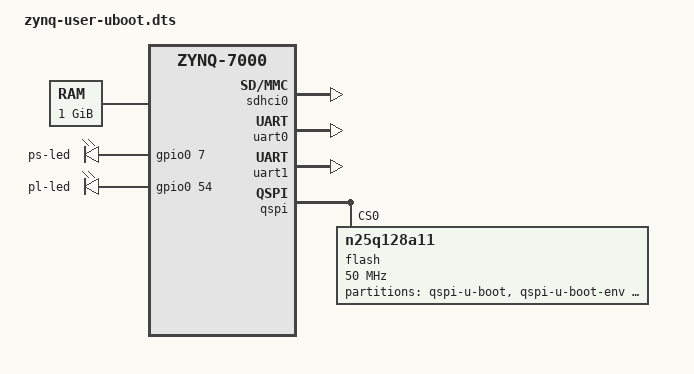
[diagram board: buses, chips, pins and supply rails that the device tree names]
/*
 * Author: michaelc
 * Version:  
 * Today is: Sun Sep  5 01:47:35 2021
 */

/dts-v1/;
#include "user/zynq-7000.dtsi"
#include "user/pcw.dtsi"
/ {
	chosen {
		// onsole=ttyPS0,115200 earlyprintk 指定打印输出端口
		// root=/dev/mmcblk0p2 rootwait rw rootfstype=ext4  kernel 的文件系统加载位置
		bootargs = "console=ttyPS0,115200 earlyprintk root=/dev/mmcblk0p2 rootwait rw rootfstype=ext4";
		stdout-path = "serial0:115200n8";
	};
	aliases {
		// 网口位置
		ethernet0 = &gem0;
		// 串口与UART 的映射关系，这个跟FPGA 硬件设计相关
		serial0 = &uart0;
		serial1 = &uart1;
		spi0 = &qspi;
		usb0 = &usb0;
		// mmc0 = &sdhci0;
	};
	memory {
		device_type = "memory";
		// DDR 内存寻址空间大小，7007系列的是512MB(0x20000000) ,7020系列是1GB(0x40000000)
		reg = <0x0 0x40000000>;
	};

	leds {
		// 使用gpio-leds驱动 
		compatible = "gpio-leds";
		// “led-ds23”: 仅名字，按需更改
		led-ps {
			label = "ps-led";
			// gpio0组， 7：MIO 的第7个IO:  
			gpios = <&gpio0 7 0>;
			linux,default-trigger = "heartbeat";
		};
		led-pl{
			label = "pl-led";
			// gpio0组， 54：EMIO 的第1个IO:  
			gpios = <&gpio0 54 0>;
			linux,default-trigger = "heartbeat";
		};
	};
};

&gem0 { 
		// 网卡的MAC 地址
		local-mac-address = [00 0a 35 00 1e 53]; 
};

&sdhci0 {
	u-boot,dm-pre-reloc;
	status = "okay";
};
&uart0 {
	status = "okay";
};
&uart1 {
	status = "okay";
};


&qspi {
    status = "okay";
    is-dual = <0>;
    num-cs = <1>;
        flash@0 {
			// 128Mb qspi 
                compatible = "n25q128a11";
                reg = <0x0>;
                spi-tx-bus-width = <1>;
                spi-rx-bus-width = <4>;
                spi-max-frequency = <50000000>;
                #address-cells = <1>;
                #size-cells = <1>;
				// 4MB
                partition@qspi-u-boot {
                label = "qspi-u-boot";
                reg = <0x0 0x400000>;
                };
                partition@qspi-u-boot-env {
                    label = "qspi-u-boot-env";
                    reg = <0x400000 0x100000>;
                };
                partition@qspi-bitstream {
                    label = "qspi-bitstream";
                    reg = <0x500000 0x500000>;
                };
				partition@qspi-devicetree {
                    label = "qspi-devicetree";
                    reg = <0xA00000 0x100000>;
                };
                partition@qspi-uImage {
                    label = "qspi-uImage";
                    reg = <0xB00000 0x500000>;
                };
        };
};
